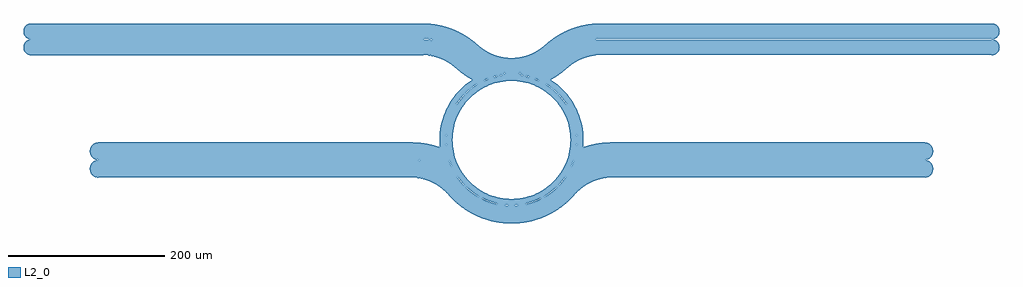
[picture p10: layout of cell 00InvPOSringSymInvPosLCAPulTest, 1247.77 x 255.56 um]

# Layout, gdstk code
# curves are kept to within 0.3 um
import gdstk
lib = gdstk.Library(unit=1e-6, precision=1e-09)
def P(c, l, *ps):  # polygons
    for p in ps: c.add(gdstk.Polygon(p, *l))
L2_0 = (2, 0)

c_00invposringsyminvposlca = lib.new_cell('00InvPOSringSymInvPosLCAPulTest')
P(c_00invposringsyminvposlca, L2_0, [(100,-306.75),(87.833,-306.054),(75.825,-303.977),(64.808,-300.783),(53.551,-296.115),(42.899,-290.195),(33.551,-283.547),(25.483,-276.438),(13.888,-264.285),(5.659,-257.963),(-0.117,-254.676),(-6.602,-251.885),(-12.96,-249.948),(-19.901,-248.651),(-27.775,-248.148),(-428.208,-248.14),(-432.753,-246.984),(-436.331,-244.175),(-438.511,-240.147),(-438.885,-235.521),(-437.75,-231.849),(-435.305,-228.657),(-431.882,-226.525),(-428.064,-225.752),(-27.775,-225.748),(-20.425,-226.069),(-11.463,-227.342),(-2.148,-229.74),(6.832,-233.184),(15.361,-237.629),(21.968,-242),(28.135,-246.973),(40.715,-260.001),(47.052,-265.662),(54.881,-271.269),(63.298,-275.947),(72.193,-279.635),(81.45,-282.285),(90.95,-283.863),(100.567,-284.348),(110.177,-283.734),(119.102,-282.159),(128.342,-279.446),(137.212,-275.698),(145.119,-271.269),(152.948,-265.662),(159.285,-260.001),(171.865,-246.973),(178.032,-242),(184.153,-237.92),(192.139,-233.656),(200.536,-230.273),(209.247,-227.81),(218.735,-226.234),(227.775,-225.748),(629.201,-225.838),(633.113,-227.1),(636.331,-229.72),(638.342,-233.226),(638.967,-237.381),(638.041,-241.433),(635.789,-244.772),(632.384,-247.159),(628.494,-248.125),(227.775,-248.148),(218.666,-248.822),(212.154,-250.153),(205.823,-252.174),(199.746,-254.864),(193.992,-258.189),(185.806,-264.566),(175.029,-275.935),(167.008,-283.099),(157.101,-290.195),(147.094,-295.801),(135.868,-300.544),(124.175,-303.977),(112.167,-306.054)],
  [(100,-283.5),(91.816,-283.098),(83.71,-281.896),(75.761,-279.905),(68.046,-277.144),(60.638,-273.64),(53.61,-269.428),(47.028,-264.546),(40.957,-259.043),(35.454,-252.972),(30.572,-246.39),(26.36,-239.362),(22.856,-231.954),(20.095,-224.239),(18.104,-216.29),(16.902,-208.184),(16.5,-200),(16.902,-191.816),(18.104,-183.71),(20.095,-175.761),(22.856,-168.046),(26.36,-160.638),(30.572,-153.61),(35.454,-147.028),(40.957,-140.957),(47.028,-135.454),(53.61,-130.572),(60.638,-126.36),(68.046,-122.856),(75.761,-120.095),(83.71,-118.104),(91.816,-116.902),(100,-116.5),(108.184,-116.902),(116.29,-118.104),(124.239,-120.095),(131.954,-122.856),(139.362,-126.36),(146.39,-130.572),(152.972,-135.454),(159.043,-140.957),(164.546,-147.028),(169.428,-153.61),(173.64,-160.638),(177.144,-168.046),(179.905,-175.761),(181.896,-183.71),(183.098,-191.816),(183.5,-200),(175.5,-200),(174.683,-188.922),(173.237,-181.655),(171.087,-174.565),(168.251,-167.72),(164.759,-161.185),(158.362,-152.103),(153.387,-146.613),(144.975,-139.358),(138.815,-135.241),(128.893,-130.247),(118.345,-126.763),(107.4,-124.864),(96.295,-124.591),(85.271,-125.951),(74.565,-128.913),(64.41,-133.415),(55.025,-139.358),(46.613,-146.613),(41.638,-152.103),(35.241,-161.185),(30.247,-171.107),(27.751,-178.084),(25.317,-188.922),(24.591,-196.295),(24.591,-203.705),(25.951,-214.729),(28.913,-225.435),(31.749,-232.28),(35.241,-238.815),(41.638,-247.897),(46.613,-253.387),(55.025,-260.642),(61.185,-264.759),(71.107,-269.753),(78.084,-272.249),(88.922,-274.683),(96.295,-275.409),(103.705,-275.409),(111.078,-274.683),(121.916,-272.249),(128.893,-269.753),(138.815,-264.759),(147.897,-258.362),(153.387,-253.387),(158.362,-247.897),(162.776,-241.946),(168.251,-232.28),(172.249,-221.916),(174.683,-211.078),(175.5,-200),(183.5,-200),(183.098,-208.184),(181.896,-216.29),(179.905,-224.239),(177.144,-231.954),(173.64,-239.362),(169.428,-246.39),(164.546,-252.972),(159.043,-259.043),(152.972,-264.546),(146.39,-269.428),(139.362,-273.64),(131.954,-277.144),(124.239,-279.905),(116.29,-281.896),(108.184,-283.098)],
  [(100,-284.25),(90.398,-283.701),(80.921,-282.061),(71.692,-279.352),(62.833,-275.608),(54.457,-270.88),(47.115,-265.584),(40.785,-259.93),(28.201,-246.898),(22.483,-242.256),(16.382,-238.13),(8.416,-233.807),(0.032,-230.363),(-8.673,-227.839),(-17.598,-226.264),(-27.775,-225.648),(-427.92,-225.647),(-430.974,-225.185),(-433.697,-223.956),(-436.065,-221.979),(-437.811,-219.426),(-438.719,-216.842),(-438.967,-214.015),(-438.511,-211.249),(-437.423,-208.756),(-435.694,-206.528),(-433.467,-204.8),(-430.974,-203.711),(-428.064,-203.252),(-26.34,-203.258),(-17.748,-203.72),(-8.515,-205),(-0.121,-206.892),(8.516,-209.606),(8,-200),(8.996,-186.501),(11.961,-173.294),(16.833,-160.665),(23.505,-148.888),(31.832,-138.217),(41.636,-128.883),(49.767,-122.948),(38.325,-115.683),(21.22,-102.042),(14.446,-98.183),(6.904,-95.053),(-3.164,-92.496),(-13.513,-91.595),(-513.885,-91.594),(-513.885,-71.594),(-8.044,-71.797),(0.176,-72.776),(8.259,-74.558),(16.129,-77.125),(23.709,-80.452),(35.368,-87.502),(47.392,-97.454),(53.741,-102.033),(60.92,-106.233),(68.023,-109.524),(75.399,-112.144),(83.466,-114.169),(91.693,-115.391),(100,-115.8),(108.307,-115.391),(116.534,-114.169),(124.601,-112.144),(131.977,-109.524),(139.08,-106.233),(146.259,-102.033),(152.608,-97.454),(164.632,-87.502),(176.291,-80.452),(183.871,-77.125),(191.741,-74.558),(199.824,-72.776),(208.044,-71.797),(713.885,-71.594),(713.885,-91.594),(213.513,-91.595),(205.736,-92.113),(198.438,-93.48),(189.275,-96.498),(180.35,-101.049),(174.254,-105.286),(161.675,-115.683),(150.233,-122.948),(158.364,-128.883),(168.168,-138.217),(173.895,-145.196),(181.137,-156.632),(184.997,-164.793),(189.243,-177.646),(191.557,-190.982),(192,-200),(184,-200),(183.091,-187.675),(180.383,-175.616),(175.935,-164.085),(169.843,-153.332),(164.933,-146.711),(159.397,-140.603),(153.289,-135.067),(146.668,-130.157),(135.915,-124.065),(128.299,-120.91),(120.41,-118.517),(108.233,-116.404),(100,-116),(91.767,-116.404),(79.59,-118.517),(71.701,-120.91),(64.085,-124.065),(56.815,-127.951),(46.711,-135.067),(37.76,-143.589),(32.531,-149.961),(27.951,-156.815),(22.394,-167.855),(18.517,-179.59),(16.404,-191.767),(16,-200),(16.404,-208.233),(18.517,-220.41),(20.91,-228.299),(24.065,-235.915),(30.157,-246.668),(37.76,-256.411),(46.711,-264.933),(53.332,-269.843),(60.403,-274.081),(71.701,-279.09),(79.59,-281.483),(87.675,-283.091),(95.878,-283.899),(108.233,-283.596),(116.388,-282.386),(124.384,-280.383),(135.915,-275.935),(143.185,-272.049),(150.039,-267.469),(156.411,-262.24),(162.24,-256.411),(167.469,-250.039),(172.049,-243.185),(175.935,-235.915),(179.09,-228.299),(181.483,-220.41),(183.596,-208.233),(184,-200),(192,-200),(191.484,-209.606),(200.121,-206.892),(208.515,-205),(217.748,-203.72),(226.34,-203.258),(627.775,-203.248),(631.497,-203.881),(634.899,-205.805),(637.423,-208.756),(638.8,-212.465),(638.622,-217.247),(636.502,-221.468),(632.753,-224.484),(628.208,-225.64),(227.775,-225.648),(216.474,-226.408),(207.571,-228.103),(198.9,-230.744),(191.073,-234.051),(183.136,-238.428),(177.063,-242.595),(171.376,-247.276),(159.215,-259.93),(152.885,-265.584),(145.543,-270.88),(137.675,-275.357),(128.84,-279.16),(119.63,-281.931),(110.164,-283.635)],
  [(100,-115.4),(91.732,-114.993),(83.544,-113.776),(75.516,-111.761),(67.723,-108.968),(60.673,-105.652),(53.553,-101.43),(47.641,-97.14),(35.602,-87.177),(24.761,-80.537),(17.639,-77.287),(10.247,-74.709),(2.649,-72.826),(-5.091,-71.652),(-13.885,-71.194),(-513.885,-71.194),(-513.885,-51.194),(-6.629,-51.446),(1.79,-52.375),(10.106,-53.982),(18.264,-56.257),(26.212,-59.184),(34.97,-63.304),(43.31,-68.216),(50.685,-73.503),(62.446,-83.271),(71.669,-88.811),(78.509,-91.696),(85.637,-93.773),(92.957,-95.013),(100,-95.4),(107.043,-95.013),(114.363,-93.773),(121.491,-91.696),(128.331,-88.811),(137.554,-83.271),(149.315,-73.503),(156.69,-68.216),(165.03,-63.304),(173.788,-59.184),(181.736,-56.257),(189.894,-53.982),(198.21,-52.375),(206.629,-51.446),(713.885,-51.194),(713.885,-71.194),(213.885,-71.194),(205.091,-71.652),(197.351,-72.826),(189.753,-74.709),(182.361,-77.287),(175.239,-80.537),(164.398,-87.177),(152.359,-97.14),(146.447,-101.43),(139.327,-105.652),(132.277,-108.968),(124.484,-111.761),(116.456,-113.776),(108.268,-114.993)],
  [(-513.885,-91.594),(-517.777,-90.808),(-520.956,-88.665),(-523.099,-85.487),(-523.885,-81.594),(-523.099,-77.702),(-520.956,-74.523),(-517.777,-72.38),(-513.885,-71.594)],
  [(713.885,-91.594),(713.885,-71.594),(717.777,-72.38),(720.956,-74.523),(723.099,-77.702),(723.885,-81.594),(723.099,-85.487),(720.956,-88.665),(717.777,-90.808)],
  [(-513.885,-71.194),(-517.777,-70.408),(-520.956,-68.265),(-523.099,-65.087),(-523.885,-61.194),(-523.099,-57.302),(-520.956,-54.123),(-517.777,-51.98),(-513.885,-51.194)],
  [(713.885,-71.194),(713.885,-51.194),(717.777,-51.98),(720.956,-54.123),(723.099,-57.302),(723.885,-61.194),(723.099,-65.087),(720.956,-68.265),(717.777,-70.408)])

lib.write_gds('00InvPOSringSymInvPosLCAPulTest.gds')
